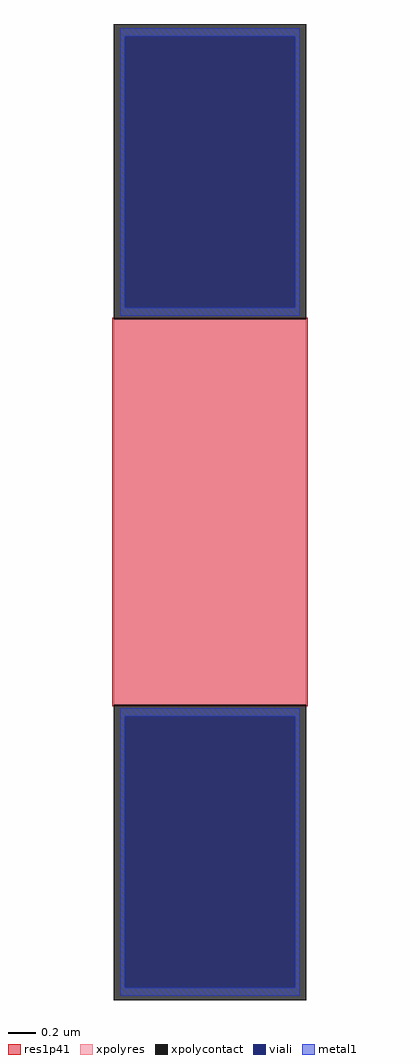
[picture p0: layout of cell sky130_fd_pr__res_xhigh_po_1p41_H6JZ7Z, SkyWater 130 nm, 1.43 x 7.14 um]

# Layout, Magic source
magic
tech sky130A
magscale 1 2
<< xpolycontact >>
rect -141 282 141 714
rect -141 -714 141 -282
<< xpolyres >>
rect -141 -282 141 282
<< viali >>
rect -125 299 125 696
rect -125 -696 125 -299
<< metal1 >>
rect -131 696 131 708
rect -131 299 -125 696
rect 125 299 131 696
rect -131 287 131 299
rect -131 -299 131 -287
rect -131 -696 -125 -299
rect 125 -696 131 -299
rect -131 -708 131 -696
<< res1p41 >>
rect -143 -284 143 284
<< properties >>
string gencell sky130_fd_pr__res_xhigh_po_1p41
string library sky130
string parameters w 1.410 l 2.82 m 1 nx 1 wmin 1.410 lmin 0.50 rho 2000 val 4.266k dummy 0 dw 0.0 term 188.2 sterm 0.0 caplen 0 wmax 1.410 guard 0 glc 1 grc 1 gtc 1 gbc 1 compatible {sky130_fd_pr__res_xhigh_po_0p35  sky130_fd_pr__res_xhigh_po_0p69 sky130_fd_pr__res_xhigh_po_1p41  sky130_fd_pr__res_xhigh_po_2p85 sky130_fd_pr__res_xhigh_po_5p73} snake 0 full_metal 0 n_guard 0 hv_guard 0 vias 1 viagb 0 viagt 0 viagl 0 viagr 0
<< end >>
